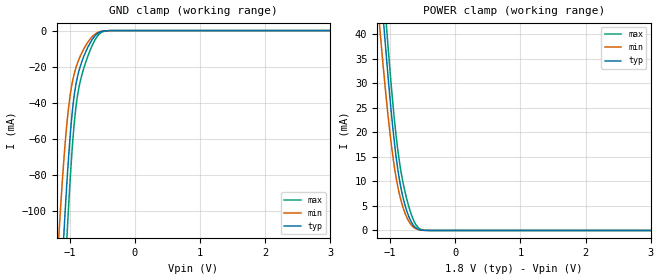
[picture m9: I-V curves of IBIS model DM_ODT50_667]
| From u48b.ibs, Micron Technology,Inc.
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|  MODEL DM_ODT50_667 (DM Input model with 50-ohm ODT Submodel,667)
[Model]   DM_ODT50_667
Model_type   Input
Vinl = 700.000mV
Vinh = 1.10V
|   typ   min   max
C_comp   2.80pF   2.61pF   3.05pF
| Note: C_comp decreases when the ODT circuit is enabled.
[Model Spec]
| Input threshold voltage corners
Vinl   0.70V   0.650V   0.750V
Vinh   1.10V   1.05V   1.150V
[Receiver Thresholds]
Vth   =  0.900V
Vth_min  =  0.882V
Vth_max  =  0.918V
Vinh_ac  =  0.200V
Vinh_dc  =  0.125V
Vinl_ac  = -0.200V
Vinl_dc  = -0.125V
Tslew_ac =  5.000ns |Not specified, so set to high value
Threshold_sensitivity = 0.50
Reference_supply Pullup_ref
[Voltage Range]   1.800V   1.700V   1.900V
[Pullup Reference]   1.800V   1.700V   1.900V
| Junction Temperature (Ambient temp is 25C typ, 85C min, 0C max)
[Temperature Range]   40.0   100.0   0.0
[Add Submodel]
| Submodel Name   Mode
50ohm_ODT_667   Non-Driving
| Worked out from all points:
|   GND clamp passes 1 mA (typ) near -0.54 V on its own axis
|   POWER clamp passes 1 mA (typ) near -0.64 V on its own axis
[GND Clamp]
|   Voltage   I(typ)   I(min)   I(max)
-1.8V     -687.2mA   -584.8mA   -771.8mA
-1.165V   -166.7mA   -114.1mA   -209.1mA
-1.155V   -159.5mA   -108.2mA   -201mA
-1.085V   -111.5mA   -70.53mA   -146.6mA
-1.035V   -81.06mA   -49.46mA   -110.9mA
-995mV    -60.38mA   -37mA      -85.21mA
-955mV    -44.09mA   -28.25mA   -63.35mA
-885mV    -26.7mA    -18.76mA   -37.76mA
-775mV    -13.77mA   -9.782mA   -20.18mA
-595mV    -2.415mA   -1.638mA   -4.342mA
-385mV    -23.94uA   -28.43uA   -37uA
3.6V      0A         0A         0A
[POWER Clamp]
|   Voltage   I(typ)   I(min)   I(max)
-1.8V     174.9mA    152.3mA    190.3mA
-1.155V   51.71mA    40.6mA     59.45mA
-1.095V   41.43mA    31.75mA    48.39mA
-1.055V   34.89mA    26.27mA    41.31mA
-995mV    25.79mA    18.92mA    31.35mA
-945mV    19.13mA    13.82mA    23.95mA
-855mV    10.15mA    7.261mA    13.76mA
-745mV    3.985mA    2.685mA    6.389mA
-615mV    638.8uA    433.7uA    1.406mA
-545mV    143uA      118uA      332.4uA
-405mV    3.671uA    5.809uA    5.835uA
3.6V      0A         0A         0A
